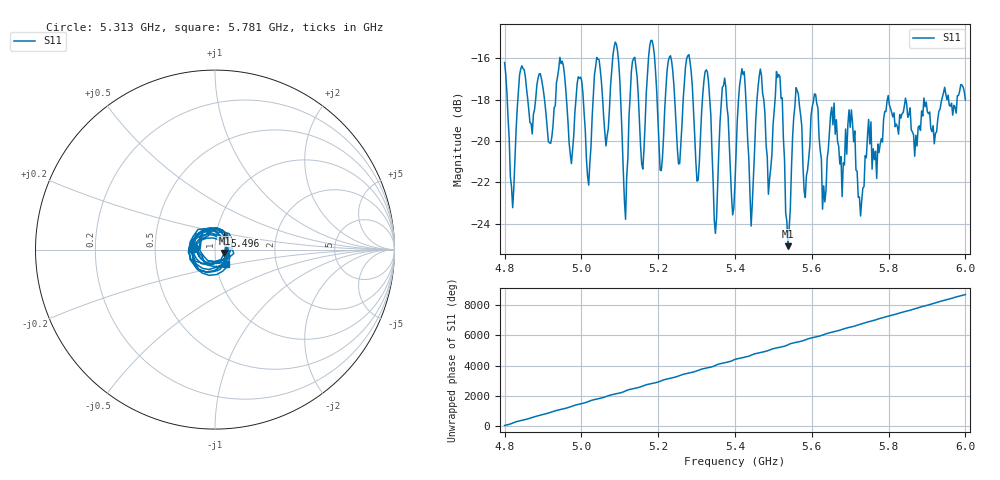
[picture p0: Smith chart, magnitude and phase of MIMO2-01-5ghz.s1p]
! NanoVNA-App
! Date: 2026-05-22 19:22:56
! Start: 4.8GHz Stop: 6GHz Points: 401
! S-Parameter data: F S11
# Hz S RI R 50
!  Frequency  S11_Real  S11_Imag
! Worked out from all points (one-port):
!   401 points, 4.8 GHz to 6 GHz, reference 50 ohm
!   lowest |S11| = -25.1 dB at 5.538 GHz (marker M1), VSWR 1.12, Z = 55.5 - j2.13 ohm
!   |S11| at or under -10 dB: start of sweep to end of sweep
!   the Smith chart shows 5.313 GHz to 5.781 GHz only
!   S11 on the Smith chart (normalised r, x): 5.313 GHz: 0.79, +0.02; 5.496 GHz: 1.10, +0.17; 5.781 GHz: 1.11, -0.18
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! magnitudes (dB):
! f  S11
! 4.8 GHz  -16.2
! 4.821 GHz  -23.2
! 4.845 GHz  -16.4
! 4.95 GHz  -16.1
! 5.019 GHz  -22.1
! 5.04 GHz  -16.0
! 5.1 GHz  -17.1
! 5.115 GHz  -23.8
! 5.133 GHz  -16.2
! 5.16 GHz  -21.4
! 5.181 GHz  -15.1
! 5.205 GHz  -21.4
! 5.229 GHz  -16.0
! 5.25 GHz  -20.4
! 5.313 GHz  -18.6
! 5.4 GHz  -22.0
! 5.418 GHz  -16.5
! 5.442 GHz  -24.1
! 5.463 GHz  -16.9
! 5.496 GHz  -20.7
! 5.517 GHz  -16.9
! 5.538 GHz  -25.1
! 5.55 GHz  -19.8
! 5.7 GHz  -19.3
! 5.727 GHz  -23.6
! 5.781 GHz  -19.9
! 5.85 GHz  -18.9
! 6 GHz  -18.0
